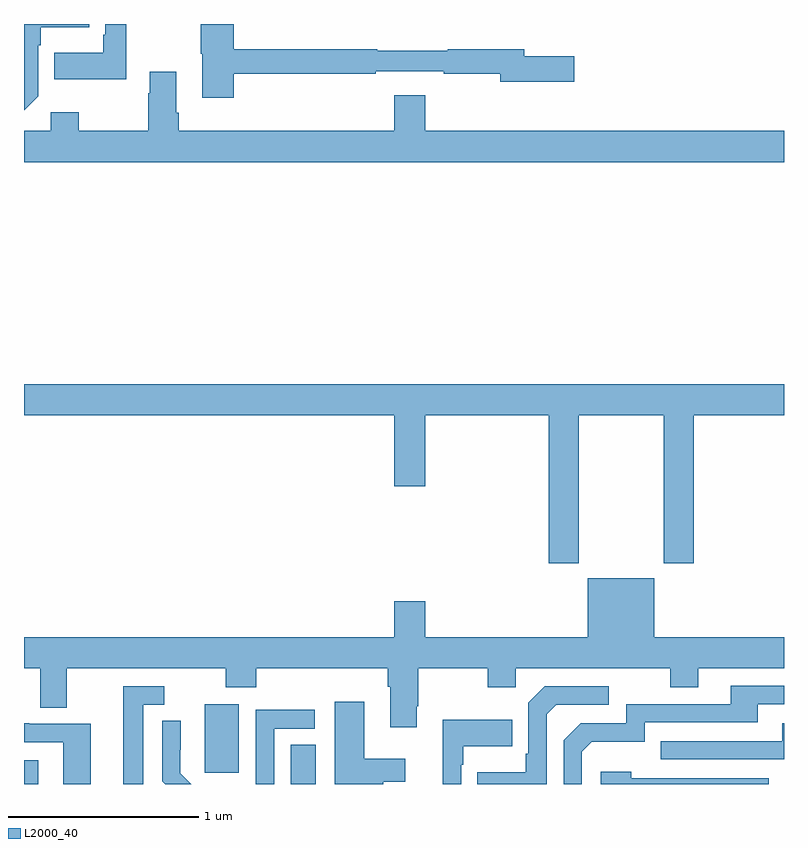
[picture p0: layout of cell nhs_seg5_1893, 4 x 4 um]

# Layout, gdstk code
import gdstk
lib = gdstk.Library(unit=1e-6, precision=1e-09)
def R(c, l, rs):  # rectangles x0, y0, x1, y1
    for r in rs: c.add(gdstk.rectangle(r[:2], r[2:], *l))
def P(c, l, *ps):  # polygons
    for p in ps: c.add(gdstk.Polygon(p, *l))
L2000_40 = (2000, 40)

nhs_seg5_1893 = lib.new_cell('nhs_seg5_1893')
R(nhs_seg5_1893, L2000_40, [(223,874.799,223.075,874.924), (224.405,874.799,224.536,875.006), (223.952,874.857,224.131,875.218)])
P(nhs_seg5_1893, L2000_40, [(224.105,878.538),(224.852,878.538),(224.852,878.55),(225.208,878.55),(225.208,878.538),(225.506,878.538),(225.506,878.495),(225.895,878.495),(225.895,878.63),(225.634,878.63),(225.634,878.666),(225.23,878.666),(225.23,878.659),(224.859,878.659),(224.859,878.666),(224.105,878.666),(224.105,878.799),(223.93,878.799),(223.93,878.643),(223.937,878.643),(223.937,878.412),(224.105,878.412)],
  [(223.537,878.799),(223.428,878.799),(223.428,878.743),(223.416,878.743),(223.416,878.647),(223.159,878.647),(223.159,878.507),(223.537,878.507)],
  [(223.074,878.418),(223.074,878.687),(223.087,878.687),(223.087,878.783),(223.343,878.783),(223.343,878.799),(223,878.799),(223,878.344)],
  [(227,878.236),(225.112,878.236),(225.112,878.425),(224.948,878.425),(224.948,878.236),(223.814,878.236),(223.814,878.332),(223.801,878.332),(223.801,878.548),(223.661,878.548),(223.661,878.435),(223.654,878.435),(223.654,878.236),(223.287,878.236),(223.287,878.335),(223.14,878.335),(223.14,878.236),(223,878.236),(223,878.072),(227,878.072)],
  [(225.921,876.74),(226.366,876.74),(226.366,875.961),(226.526,875.961),(226.526,876.74),(227,876.74),(227,876.904),(223,876.904),(223,876.74),(224.948,876.74),(224.948,876.366),(225.112,876.366),(225.112,876.74),(225.761,876.74),(225.761,875.961),(225.921,875.961)],
  [(225.067,875.209),(225.075,875.209),(225.075,875.408),(225.442,875.408),(225.442,875.309),(225.588,875.309),(225.588,875.408),(226.402,875.408),(226.402,875.309),(226.549,875.309),(226.549,875.408),(227,875.408),(227,875.572),(226.318,875.572),(226.318,875.881),(225.968,875.881),(225.968,875.572),(225.112,875.572),(225.112,875.761),(224.948,875.761),(224.948,875.572),(223,875.572),(223,875.408),(223.085,875.408),(223.085,875.2),(223.225,875.2),(223.225,875.408),(224.062,875.408),(224.062,875.309),(224.222,875.309),(224.222,875.408),(224.915,875.408),(224.915,875.312),(224.927,875.312),(224.927,875.097),(225.067,875.097)],
  [(225.936,874.968),(225.989,875.021),(226.266,875.021),(226.266,875.124),(226.861,875.124),(226.861,875.22),(227,875.22),(227,875.316),(226.721,875.316),(226.721,875.22),(226.17,875.22),(226.17,875.118),(225.93,875.118),(225.84,875.028),(225.84,874.799),(225.936,874.799)],
  [(223.627,875.217),(223.738,875.217),(223.738,875.313),(223.523,875.313),(223.523,874.799),(223.627,874.799)],
  [(225.75,875.166),(225.801,875.217),(226.078,875.217),(226.078,875.313),(225.741,875.313),(225.654,875.226),(225.654,874.957),(225.642,874.957),(225.642,874.861),(225.385,874.861),(225.385,874.799),(225.75,874.799)],
  [(224.891,874.811),(225.007,874.811),(225.007,874.933),(224.791,874.933),(224.791,875.233),(224.636,875.233),(224.636,874.799),(224.891,874.799)],
  [(224.316,875.091),(224.53,875.091),(224.53,875.19),(224.22,875.19),(224.22,874.799),(224.316,874.799)],
  [(225.3,874.901),(225.313,874.901),(225.313,874.997),(225.569,874.997),(225.569,875.137),(225.203,875.137),(225.203,874.799),(225.3,874.799)],
  [(223.823,874.856),(223.823,874.978),(223.824,874.978),(223.824,875.132),(223.728,875.132),(223.728,874.814),(223.743,874.799),(223.879,874.799)],
  [(227,875.119),(226.991,875.119),(226.991,875.025),(226.351,875.025),(226.351,874.929),(227,874.929)],
  [(223.351,875.115),(223.027,875.115),(223.027,875.119),(223,875.119),(223,875.019),(223.206,875.019),(223.206,874.799),(223.351,874.799)],
  [(226.92,874.83),(226.196,874.83),(226.196,874.864),(226.035,874.864),(226.035,874.799),(226.92,874.799)])

lib.write_gds('nhs_seg5_1893.gds')
